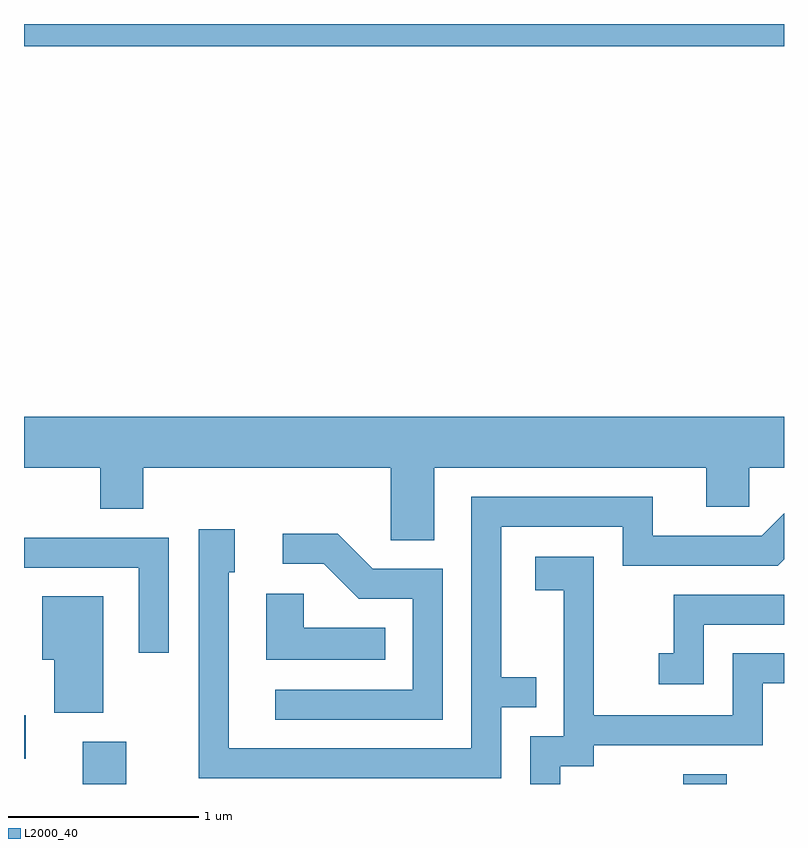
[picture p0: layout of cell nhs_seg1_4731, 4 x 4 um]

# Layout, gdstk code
import gdstk
lib = gdstk.Library(unit=1e-6, precision=1e-09)
def R(c, l, rs):  # rectangles x0, y0, x1, y1
    for r in rs: c.add(gdstk.rectangle(r[:2], r[2:], *l))
def P(c, l, *ps):  # polygons
    for p in ps: c.add(gdstk.Polygon(p, *l))
L2000_40 = (2000, 40)

nhs_seg1_4731 = lib.new_cell('nhs_seg1_4731')
R(nhs_seg1_4731, L2000_40, [(327.921,875.712,328.149,875.934), (331.081,875.712,331.309,875.764), (327.611,875.846,327.619,876.074), (327.611,879.596,331.611,879.712)])
P(nhs_seg1_4731, L2000_40, [(329.769,877.376),(331.201,877.376),(331.201,877.171),(331.429,877.171),(331.429,877.376),(331.611,877.376),(331.611,877.644),(327.611,877.644),(327.611,877.376),(328.011,877.376),(328.011,877.161),(328.239,877.161),(328.239,877.376),(329.541,877.376),(329.541,876.996),(329.769,876.996)],
  [(330.124,876.116),(330.308,876.116),(330.308,876.274),(330.124,876.274),(330.124,877.066),(330.761,877.066),(330.761,876.861),(331.577,876.861),(331.611,876.895),(331.611,877.136),(331.494,877.019),(330.919,877.019),(330.919,877.224),(329.966,877.224),(329.966,875.899),(328.689,875.899),(328.689,876.826),(328.719,876.826),(328.719,877.054),(328.531,877.054),(328.531,875.741),(330.124,875.741)],
  [(329.814,876.844),(329.447,876.844),(329.262,877.029),(328.973,877.029),(328.973,876.871),(329.189,876.871),(329.374,876.686),(329.656,876.686),(329.656,876.209),(328.933,876.209),(328.933,876.051),(329.814,876.051)],
  [(328.374,877.009),(327.611,877.009),(327.611,876.851),(328.216,876.851),(328.216,876.403),(328.374,876.403)],
  [(330.434,875.806),(330.609,875.806),(330.609,875.916),(331.499,875.916),(331.499,876.241),(331.611,876.241),(331.611,876.399),(331.341,876.399),(331.341,876.074),(330.609,876.074),(330.609,876.909),(330.301,876.909),(330.301,876.731),(330.451,876.731),(330.451,875.964),(330.276,875.964),(330.276,875.712),(330.434,875.712)],
  [(329.513,876.534),(329.084,876.534),(329.084,876.714),(328.886,876.714),(328.886,876.366),(329.513,876.366)],
  [(331.189,876.551),(331.611,876.551),(331.611,876.709),(331.031,876.709),(331.031,876.399),(330.953,876.399),(330.953,876.236),(331.189,876.236)],
  [(328.029,876.699),(327.706,876.699),(327.706,876.366),(327.771,876.366),(327.771,876.086),(328.029,876.086)])

lib.write_gds('nhs_seg1_4731.gds')
